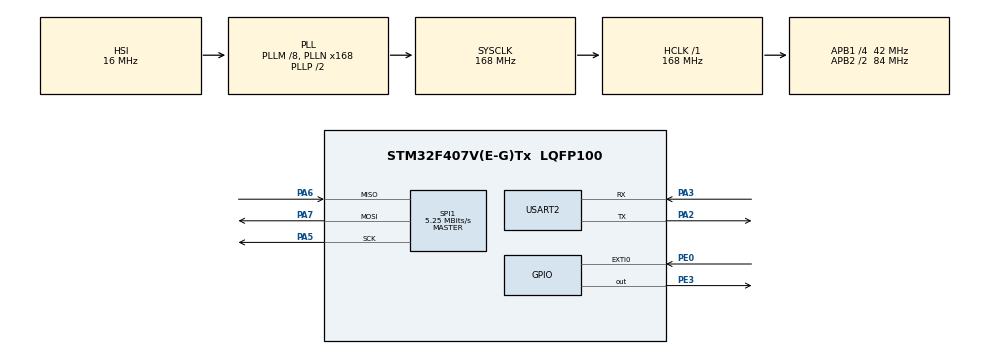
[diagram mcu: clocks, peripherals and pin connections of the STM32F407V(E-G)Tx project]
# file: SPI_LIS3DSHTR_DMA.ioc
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Dma.Request0=SPI1_RX
Dma.Request1=SPI1_TX
Dma.SPI1_RX.0.Direction=DMA_PERIPH_TO_MEMORY
Dma.SPI1_RX.0.FIFOMode=DMA_FIFOMODE_DISABLE
Dma.SPI1_RX.0.Instance=DMA2_Stream0
Dma.SPI1_RX.0.MemDataAlignment=DMA_MDATAALIGN_BYTE
Dma.SPI1_RX.0.MemInc=DMA_MINC_ENABLE
Dma.SPI1_RX.0.Mode=DMA_NORMAL
Dma.SPI1_RX.0.PeriphDataAlignment=DMA_PDATAALIGN_BYTE
Dma.SPI1_RX.0.PeriphInc=DMA_PINC_DISABLE
Dma.SPI1_RX.0.Priority=DMA_PRIORITY_LOW
Dma.SPI1_TX.1.Direction=DMA_MEMORY_TO_PERIPH
Dma.SPI1_TX.1.FIFOMode=DMA_FIFOMODE_DISABLE
Dma.SPI1_TX.1.Instance=DMA2_Stream3
Dma.SPI1_TX.1.MemDataAlignment=DMA_MDATAALIGN_BYTE
Dma.SPI1_TX.1.MemInc=DMA_MINC_ENABLE
Dma.SPI1_TX.1.Mode=DMA_NORMAL
Dma.SPI1_TX.1.PeriphDataAlignment=DMA_PDATAALIGN_BYTE
Dma.SPI1_TX.1.PeriphInc=DMA_PINC_DISABLE
Dma.SPI1_TX.1.Priority=DMA_PRIORITY_LOW
Mcu.Family=STM32F4
Mcu.Name=STM32F407V(E-G)Tx
Mcu.Package=LQFP100
NVIC.DMA2_Stream0_IRQn=true\:0\:0\:false\:false\:true\:false\:true\:true
NVIC.DMA2_Stream3_IRQn=true\:0\:0\:false\:false\:true\:false\:true\:true
NVIC.EXTI0_IRQn=true\:0\:0\:false\:false\:true\:true\:true\:true
NVIC.PriorityGroup=NVIC_PRIORITYGROUP_4
NVIC.SPI1_IRQn=true\:0\:0\:false\:false\:true\:true\:true\:true
PA2.Mode=Asynchronous
PA2.Signal=USART2_TX
PA3.Mode=Asynchronous
PA3.Signal=USART2_RX
PA5.Mode=Full_Duplex_Master
PA5.Signal=SPI1_SCK
PA6.Mode=Full_Duplex_Master
PA6.Signal=SPI1_MISO
PA7.Mode=Full_Duplex_Master
PA7.Signal=SPI1_MOSI
PE0.Signal=GPXTI0
PE3.Signal=GPIO_Output
ProjectManager.HeapSize=0x200
ProjectManager.StackSize=0x400
ProjectManager.TargetToolchain=STM32CubeIDE
RCC.48MHZClocksFreq_Value=84000000
RCC.AHBFreq_Value=168000000
RCC.APB1CLKDivider=RCC_HCLK_DIV4
RCC.APB1Freq_Value=42000000
RCC.APB1TimFreq_Value=84000000
RCC.APB2CLKDivider=RCC_HCLK_DIV2
RCC.APB2Freq_Value=84000000
RCC.APB2TimFreq_Value=168000000
RCC.CortexFreq_Value=168000000
RCC.HCLKFreq_Value=168000000
RCC.HSE_VALUE=25000000
RCC.HSI_VALUE=16000000
RCC.LSE_VALUE=32768
RCC.PLLM=8
RCC.PLLN=168
RCC.SYSCLKFreq_VALUE=168000000
RCC.SYSCLKSource=RCC_SYSCLKSOURCE_PLLCLK
RCC.VCOOutputFreq_Value=336000000
SPI1.BaudRatePrescaler=SPI_BAUDRATEPRESCALER_16
SPI1.CLKPhase=SPI_PHASE_2EDGE
SPI1.CLKPolarity=SPI_POLARITY_HIGH
SPI1.CalculateBaudRate=5.25 MBits/s
SPI1.Direction=SPI_DIRECTION_2LINES
SPI1.Mode=SPI_MODE_MASTER
SPI1.VirtualType=VM_MASTER
USART2.VirtualMode=VM_ASYNC
board=custom

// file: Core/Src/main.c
/* USER CODE BEGIN Header */
/**
  ******************************************************************************
  * @file           : main.c
  * @brief          : Main program body
  ******************************************************************************
  * @attention
  *
  * Copyright (c) 2026 STMicroelectronics.
  * All rights reserved.
  *
  * This software is licensed under terms that can be found in the LICENSE file
  * in the root directory of this software component.
  * If no LICENSE file comes with this software, it is provided AS-IS.
  *
  ******************************************************************************
  */
/* USER CODE END Header */
#include "main.h"

/* USER CODE BEGIN Includes */
#include <stdio.h>
#include <LIS3DSHTR.h>
/* USER CODE END Includes */

/* USER CODE BEGIN PD */
volatile uint8_t dma_done = 0;
uint8_t spi_rx_buf[7];  //1 dummy + 6 data bytes
uint8_t spi_tx_buf[7];  //1 address + 6 dummy bytes
volatile uint8_t data_ready = 0;
/* USER CODE END PD */

SPI_HandleTypeDef hspi1;
DMA_HandleTypeDef hdma_spi1_rx;
DMA_HandleTypeDef hdma_spi1_tx;

UART_HandleTypeDef huart2;

void SystemClock_Config(void);
static void MX_GPIO_Init(void);
static void MX_DMA_Init(void);
static void MX_SPI1_Init(void);
static void MX_USART2_UART_Init(void);

int main(void)
{

  /* MCU Configuration--------------------------------------------------------*/

  /* Reset of all peripherals, Initializes the Flash interface and the Systick. */
  HAL_Init();

  /* Configure the system clock */
  SystemClock_Config();

  /* Initialize all configured peripherals */
  MX_GPIO_Init();
  MX_DMA_Init();
  MX_SPI1_Init();
  MX_USART2_UART_Init();
  /* USER CODE BEGIN 2 */
  LIS3_HandleTypeDef hlis;
  hlis.hspi    = &hspi1;
  hlis.cs_port = GPIOE;
  hlis.cs_pin  = GPIO_PIN_3;

  LIS3_Init(&hlis);
  LIS3_WriteReg(&hlis, LIS3_CTRL_REG3, LIS3_CTRL_REG3_DRDY_INT1);

  // Prepare TX buffer - address byte + 6 dummies
  spi_tx_buf[0] = LIS3_OUT_X_L | 0x80; // RW=1, start at OUT_X_L
  spi_tx_buf[1] = 0x00;
  spi_tx_buf[2] = 0x00;
  spi_tx_buf[3] = 0x00;
  spi_tx_buf[4] = 0x00;
  spi_tx_buf[5] = 0x00;
  spi_tx_buf[6] = 0x00;
  /* USER CODE END 2 */

  /* Infinite loop */
  while (1)
  {

    /* USER CODE BEGIN 3 */
	  if (data_ready)
	  {
	      data_ready = 0;

	      HAL_GPIO_WritePin(GPIOE, GPIO_PIN_3, GPIO_PIN_RESET); // CS LOW
	      HAL_SPI_TransmitReceive_DMA(&hspi1, spi_tx_buf, spi_rx_buf, 7);
	  }

	  if (dma_done)
	  {
	      dma_done = 0;

	      int16_t x = (int16_t)(spi_rx_buf[2] << 8 | spi_rx_buf[1]);
	      int16_t y = (int16_t)(spi_rx_buf[4] << 8 | spi_rx_buf[3]);
	      int16_t z = (int16_t)(spi_rx_buf[6] << 8 | spi_rx_buf[5]);

	      printf("X: %d  Y: %d  Z: %d\r\n", x, y, z);
	  }
  }
  /* USER CODE END 3 */
}

void SystemClock_Config(void)
{
  RCC_OscInitTypeDef RCC_OscInitStruct = {0};
  RCC_ClkInitTypeDef RCC_ClkInitStruct = {0};

  /** Configure the main internal regulator output voltage
  */
  __HAL_RCC_PWR_CLK_ENABLE();
  __HAL_PWR_VOLTAGESCALING_CONFIG(PWR_REGULATOR_VOLTAGE_SCALE1);

  /** Initializes the RCC Oscillators according to the specified parameters
  * in the RCC_OscInitTypeDef structure.
  */
  RCC_OscInitStruct.OscillatorType = RCC_OSCILLATORTYPE_HSI;
  RCC_OscInitStruct.HSIState = RCC_HSI_ON;
  RCC_OscInitStruct.HSICalibrationValue = RCC_HSICALIBRATION_DEFAULT;
  RCC_OscInitStruct.PLL.PLLState = RCC_PLL_ON;
  RCC_OscInitStruct.PLL.PLLSource = RCC_PLLSOURCE_HSI;
  RCC_OscInitStruct.PLL.PLLM = 8;
  RCC_OscInitStruct.PLL.PLLN = 168;
  RCC_OscInitStruct.PLL.PLLP = RCC_PLLP_DIV2;
  RCC_OscInitStruct.PLL.PLLQ = 4;
  if (HAL_RCC_OscConfig(&RCC_OscInitStruct) != HAL_OK)
  {
    Error_Handler();
  }

  /** Initializes the CPU, AHB and APB buses clocks
  */
  RCC_ClkInitStruct.ClockType = RCC_CLOCKTYPE_HCLK|RCC_CLOCKTYPE_SYSCLK
                              |RCC_CLOCKTYPE_PCLK1|RCC_CLOCKTYPE_PCLK2;
  RCC_ClkInitStruct.SYSCLKSource = RCC_SYSCLKSOURCE_PLLCLK;
  RCC_ClkInitStruct.AHBCLKDivider = RCC_SYSCLK_DIV1;
  RCC_ClkInitStruct.APB1CLKDivider = RCC_HCLK_DIV4;
  RCC_ClkInitStruct.APB2CLKDivider = RCC_HCLK_DIV2;

  if (HAL_RCC_ClockConfig(&RCC_ClkInitStruct, FLASH_LATENCY_5) != HAL_OK)
  {
    Error_Handler();
  }
}

static void MX_SPI1_Init(void)
{

  /* SPI1 parameter configuration*/
  hspi1.Instance = SPI1;
  hspi1.Init.Mode = SPI_MODE_MASTER;
  hspi1.Init.Direction = SPI_DIRECTION_2LINES;
  hspi1.Init.DataSize = SPI_DATASIZE_8BIT;
  hspi1.Init.CLKPolarity = SPI_POLARITY_HIGH;
  hspi1.Init.CLKPhase = SPI_PHASE_2EDGE;
  hspi1.Init.NSS = SPI_NSS_SOFT;
  hspi1.Init.BaudRatePrescaler = SPI_BAUDRATEPRESCALER_16;
  hspi1.Init.FirstBit = SPI_FIRSTBIT_MSB;
  hspi1.Init.TIMode = SPI_TIMODE_DISABLE;
  hspi1.Init.CRCCalculation = SPI_CRCCALCULATION_DISABLE;
  hspi1.Init.CRCPolynomial = 10;
  if (HAL_SPI_Init(&hspi1) != HAL_OK)
  {
    Error_Handler();
  }

}

static void MX_USART2_UART_Init(void)
{

  huart2.Instance = USART2;
  huart2.Init.BaudRate = 115200;
  huart2.Init.WordLength = UART_WORDLENGTH_8B;
  huart2.Init.StopBits = UART_STOPBITS_1;
  huart2.Init.Parity = UART_PARITY_NONE;
  huart2.Init.Mode = UART_MODE_TX_RX;
  huart2.Init.HwFlowCtl = UART_HWCONTROL_NONE;
  huart2.Init.OverSampling = UART_OVERSAMPLING_16;
  if (HAL_UART_Init(&huart2) != HAL_OK)
  {
    Error_Handler();
  }

}

static void MX_DMA_Init(void)
{

  /* DMA controller clock enable */
  __HAL_RCC_DMA2_CLK_ENABLE();

  /* DMA interrupt init */
  /* DMA2_Stream0_IRQn interrupt configuration */
  HAL_NVIC_SetPriority(DMA2_Stream0_IRQn, 0, 0);
  HAL_NVIC_EnableIRQ(DMA2_Stream0_IRQn);
  /* DMA2_Stream3_IRQn interrupt configuration */
  HAL_NVIC_SetPriority(DMA2_Stream3_IRQn, 0, 0);
  HAL_NVIC_EnableIRQ(DMA2_Stream3_IRQn);

}

static void MX_GPIO_Init(void)
{
  GPIO_InitTypeDef GPIO_InitStruct = {0};

  /* GPIO Ports Clock Enable */
  __HAL_RCC_GPIOE_CLK_ENABLE();
  __HAL_RCC_GPIOA_CLK_ENABLE();

  /*Configure GPIO pin Output Level */
  HAL_GPIO_WritePin(GPIOE, GPIO_PIN_3, GPIO_PIN_RESET);

  /*Configure GPIO pin : PE3 */
  GPIO_InitStruct.Pin = GPIO_PIN_3;
  GPIO_InitStruct.Mode = GPIO_MODE_OUTPUT_PP;
  GPIO_InitStruct.Pull = GPIO_NOPULL;
  GPIO_InitStruct.Speed = GPIO_SPEED_FREQ_LOW;
  HAL_GPIO_Init(GPIOE, &GPIO_InitStruct);

  /*Configure GPIO pin : PE0 */
  GPIO_InitStruct.Pin = GPIO_PIN_0;
  GPIO_InitStruct.Mode = GPIO_MODE_IT_RISING;
  GPIO_InitStruct.Pull = GPIO_NOPULL;
  HAL_GPIO_Init(GPIOE, &GPIO_InitStruct);

  /* EXTI interrupt init*/
  HAL_NVIC_SetPriority(EXTI0_IRQn, 0, 0);
  HAL_NVIC_EnableIRQ(EXTI0_IRQn);

}

/* USER CODE BEGIN 4 */
void HAL_SPI_TxRxCpltCallback(SPI_HandleTypeDef *hspi)
{
	if (hspi->Instance == SPI1)
	{
		   HAL_GPIO_WritePin(GPIOE, GPIO_PIN_3, GPIO_PIN_SET); // CS HIGH
		   dma_done = 1;
	}
}

void HAL_GPIO_EXTI_Callback(uint16_t GPIO_Pin)
{
    if (GPIO_Pin == GPIO_PIN_0)
    {
        data_ready = 1;
    }
}

int _write(int file, char *ptr, int len)
  {
      HAL_UART_Transmit(&huart2, (uint8_t*)ptr, len, HAL_MAX_DELAY);
      return len;
  }
/* USER CODE END 4 */

void Error_Handler(void)
{
  __disable_irq();
  while (1)
  {
  }
}
